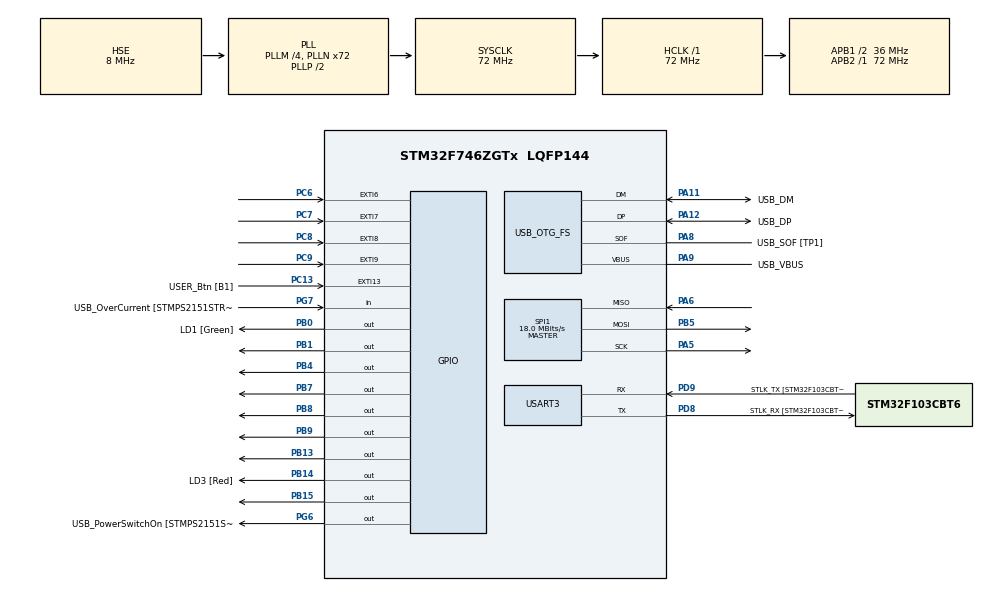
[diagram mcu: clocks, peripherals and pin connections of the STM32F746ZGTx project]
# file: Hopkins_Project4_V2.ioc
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Dma.Request0=SPI1_TX
Dma.SPI1_TX.0.Direction=DMA_MEMORY_TO_PERIPH
Dma.SPI1_TX.0.FIFOMode=DMA_FIFOMODE_ENABLE
Dma.SPI1_TX.0.FIFOThreshold=DMA_FIFO_THRESHOLD_HALFFULL
Dma.SPI1_TX.0.Instance=DMA2_Stream3
Dma.SPI1_TX.0.MemBurst=DMA_MBURST_SINGLE
Dma.SPI1_TX.0.MemDataAlignment=DMA_MDATAALIGN_HALFWORD
Dma.SPI1_TX.0.MemInc=DMA_MINC_ENABLE
Dma.SPI1_TX.0.Mode=DMA_NORMAL
Dma.SPI1_TX.0.PeriphBurst=DMA_PBURST_SINGLE
Dma.SPI1_TX.0.PeriphDataAlignment=DMA_PDATAALIGN_HALFWORD
Dma.SPI1_TX.0.PeriphInc=DMA_PINC_DISABLE
Dma.SPI1_TX.0.Priority=DMA_PRIORITY_LOW
Mcu.Family=STM32F7
Mcu.Name=STM32F746ZGTx
Mcu.Package=LQFP144
NVIC.DMA2_Stream3_IRQn=true\:0\:0\:false\:false\:true\:false\:true\:true
NVIC.EXTI9_5_IRQn=true\:0\:0\:false\:false\:true\:true\:true\:true
NVIC.PriorityGroup=NVIC_PRIORITYGROUP_4
PA1.GPIO_Label=RMII_REF_CLK [LAN8742A-CZ-TR_REFCLK0]
PA1.Signal=ETH_REF_CLK
PA10.GPIO_Label=USB_ID
PA10.Signal=USB_OTG_FS_ID
PA11.GPIO_Label=USB_DM
PA11.Mode=Device_Only
PA11.Signal=USB_OTG_FS_DM
PA12.GPIO_Label=USB_DP
PA12.Mode=Device_Only
PA12.Signal=USB_OTG_FS_DP
PA13.GPIO_Label=TMS
PA13.Mode=Serial_Wire
PA13.Signal=SYS_JTMS-SWDIO
PA14.GPIO_Label=TCK
PA14.Mode=Serial_Wire
PA14.Signal=SYS_JTCK-SWCLK
PA2.GPIO_Label=RMII_MDIO [LAN8742A-CZ-TR_MDIO]
PA2.Signal=ETH_MDIO
PA5.Mode=Full_Duplex_Master
PA5.Signal=SPI1_SCK
PA6.Mode=Full_Duplex_Master
PA6.Signal=SPI1_MISO
PA7.GPIO_Label=RMII_CRS_DV [LAN8742A-CZ-TR_CRS_DV]
PA7.Signal=ETH_CRS_DV
PA8.GPIO_Label=USB_SOF [TP1]
PA8.Mode=Activate_SOF_FS
PA8.Signal=USB_OTG_FS_SOF
PA9.GPIO_Label=USB_VBUS
PA9.Mode=Activate_VBUS
PA9.Signal=USB_OTG_FS_VBUS
PB0.GPIO_Label=LD1 [Green]
PB0.PinState=GPIO_PIN_RESET
PB0.Signal=GPIO_Output
PB1.GPIO_PuPd=GPIO_PULLDOWN
PB1.Signal=GPIO_Output
PB13.GPIO_PuPd=GPIO_PULLDOWN
PB13.PinState=GPIO_PIN_RESET
PB13.Signal=GPIO_Output
PB14.GPIO_Label=LD3 [Red]
PB14.Signal=GPIO_Output
PB15.GPIO_PuPd=GPIO_PULLDOWN
PB15.Signal=GPIO_Output
PB3.GPIO_Label=SW0
PB3.Signal=SYS_JTDO-SWO
PB4.GPIO_PuPd=GPIO_PULLDOWN
PB4.Signal=GPIO_Output
PB5.Mode=Full_Duplex_Master
PB5.Signal=SPI1_MOSI
PB7.Signal=GPIO_Output
PB8.Signal=GPIO_Output
PB9.Signal=GPIO_Output
PC1.GPIO_Label=RMII_MDC [LAN8742A-CZ-TR_MDC]
PC1.Signal=ETH_MDC
PC13.GPIO_Label=USER_Btn [B1]
PC13.Signal=GPXTI13
PC14/OSC32_IN.Mode=LSE-External-Oscillator
PC14/OSC32_IN.Signal=RCC_OSC32_IN
PC15/OSC32_OUT.Mode=LSE-External-Oscillator
PC15/OSC32_OUT.Signal=RCC_OSC32_OUT
PC4.GPIO_Label=RMII_RXD0 [LAN8742A-CZ-TR_RXD0]
PC4.Signal=ETH_RXD0
PC5.GPIO_Label=RMII_RXD1 [LAN8742A-CZ-TR_RXD1]
PC5.Signal=ETH_RXD1
PC6.GPIO_ModeDefaultEXTI=GPIO_MODE_IT_FALLING
PC6.GPIO_PuPd=GPIO_PULLUP
PC6.Signal=GPXTI6
PC7.GPIO_ModeDefaultEXTI=GPIO_MODE_IT_FALLING
PC7.GPIO_PuPd=GPIO_PULLUP
PC7.Signal=GPXTI7
PC8.GPIO_ModeDefaultEXTI=GPIO_MODE_IT_FALLING
PC8.GPIO_PuPd=GPIO_PULLUP
PC8.Signal=GPXTI8
PC9.GPIO_ModeDefaultEXTI=GPIO_MODE_IT_FALLING
PC9.GPIO_PuPd=GPIO_PULLUP
PC9.Signal=GPXTI9
PD8.GPIO_Label=STLK_RX [STM32F103CBT6_PA3]
PD8.GPIO_PuPd=GPIO_PULLUP
PD8.Mode=Asynchronous
PD8.Signal=USART3_TX
PD9.GPIO_Label=STLK_TX [STM32F103CBT6_PA2]
PD9.GPIO_PuPd=GPIO_PULLUP
PD9.Mode=Asynchronous
PD9.Signal=USART3_RX
PG11.GPIO_Label=RMII_TX_EN [LAN8742A-CZ-TR_TXEN]
PG11.Signal=ETH_TX_EN
PG13.GPIO_Label=RMII_TXD0 [LAN8742A-CZ-TR_TXD0]
PG13.Signal=ETH_TXD0
PG6.GPIO_Label=USB_PowerSwitchOn [STMPS2151STR_EN]
PG6.Signal=GPIO_Output
PG7.GPIO_Label=USB_OverCurrent [STMPS2151STR_FAULT]
PG7.Signal=GPIO_Input
PH0/OSC_IN.GPIO_Label=MCO [STM32F103CBT6_PA8]
PH0/OSC_IN.Mode=HSE-External-Clock-Source
PH0/OSC_IN.Signal=RCC_OSC_IN
PH1/OSC_OUT.Mode=HSE-External-Clock-Source
PH1/OSC_OUT.Signal=RCC_OSC_OUT
ProjectManager.HeapSize=0x200
ProjectManager.StackSize=0x400
ProjectManager.TargetToolchain=STM32CubeIDE
RCC.48MHZClocksFreq_Value=24000000
RCC.AHBFreq_Value=72000000
RCC.APB1CLKDivider=RCC_HCLK_DIV2
RCC.APB1Freq_Value=36000000
RCC.APB1TimFreq_Value=72000000
RCC.APB2Freq_Value=72000000
RCC.APB2TimFreq_Value=72000000
RCC.CortexFreq_Value=72000000
RCC.HCLKFreq_Value=72000000
RCC.HSE_VALUE=8000000
RCC.HSI_VALUE=16000000
RCC.PLLM=4
RCC.PLLMUL=RCC_PLL_MUL9
RCC.PLLN=72
RCC.PLLQ=3
RCC.PRESCALERUSB=RCC_USBCLKSOURCE_PLL_DIV1_5
RCC.SYSCLKFreq_VALUE=72000000
RCC.SYSCLKSource=RCC_SYSCLKSOURCE_PLLCLK
RCC.SYSCLKSourceVirtual=RCC_SYSCLKSOURCE_PLLCLK
RCC.USBFreq_Value=48000000
RCC.VCOOutputFreq_Value=144000000
SPI1.BaudRatePrescaler=SPI_BAUDRATEPRESCALER_4
SPI1.CalculateBaudRate=18.0 MBits/s
SPI1.DataSize=SPI_DATASIZE_8BIT
SPI1.Direction=SPI_DIRECTION_2LINES
SPI1.Mode=SPI_MODE_MASTER
SPI1.NSSPMode=SPI_NSS_PULSE_DISABLE
SPI1.VirtualType=VM_MASTER
USART3.VirtualMode-Asynchronous=VM_ASYNC
USB_OTG_FS.VirtualMode=Device_Only
board=NUCLEO-F746ZG

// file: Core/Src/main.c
/* USER CODE BEGIN Header */
/**
  ******************************************************************************
  * @file           : main.c
  * @brief          : Main program body
  ******************************************************************************
  * @attention
  *
  * Copyright (c) 2023 STMicroelectronics.
  * All rights reserved.
  *
  * This software is licensed under terms that can be found in the LICENSE file
  * in the root directory of this software component.
  * If no LICENSE file comes with this software, it is provided AS-IS.
  *
  ******************************************************************************
  */
/* USER CODE END Header */
#include "main.h"

/* USER CODE BEGIN Includes */
#include "ctype.h"
#include "stdio.h"
#include "ili9163.h"
#include "fonts.h"
#include "colors.h"
#include "stdlib.h"
#include "GUI.h"
#include "stm32f7xx_hal.h"
#include "stm32f7xx_hal_flash.h"
#include "HAL_FLASH.h"

/* USER CODE END Includes */

SPI_HandleTypeDef hspi1;
DMA_HandleTypeDef hdma_spi1_tx;

UART_HandleTypeDef huart3;

PCD_HandleTypeDef hpcd_USB_OTG_FS;

/* USER CODE BEGIN PV */
char keyChar = 0;
uint16_t key = 0;

char password[10];
char inputPassword[10];

int enterFlag = 0;
int setPassFlag = 0;
int backspaceFlag = 0;
int screenClrFlag = 0;
int stringSize = 0;

uint32_t passLen = 4;

/* USER CODE END PV */

void SystemClock_Config(void);
static void MX_GPIO_Init(void);
static void MX_DMA_Init(void);
static void MX_USART3_UART_Init(void);
static void MX_USB_OTG_FS_PCD_Init(void);
static void MX_SPI1_Init(void);

int main(void)
{

  /* MCU Configuration--------------------------------------------------------*/

  /* Reset of all peripherals, Initializes the Flash interface and the Systick. */
  HAL_Init();

  /* USER CODE BEGIN Init */
  HAL_FLASH_Unlock();

  /* USER CODE END Init */

  /* Configure the system clock */
  SystemClock_Config();

  /* Initialize all configured peripherals */
  MX_GPIO_Init();
  MX_DMA_Init();
  MX_USART3_UART_Init();
  MX_USB_OTG_FS_PCD_Init();
  MX_SPI1_Init();
  /* USER CODE BEGIN 2 */
  getTitleScreen();
  readDataFromFlash((uint32_t*)password, passLen);

  /* USER CODE END 2 */

  /* Infinite loop */
  /* USER CODE BEGIN WHILE */
  while (1)
  {
	//Basic key pad functionality
	if (keyChar != 0)
	{
		keyChar = 0;
		displayInput(); //GUI to display input
		stringSize = strlen(inputPassword);
	}
	if (backspaceFlag == 1)
	{
		backspaceFlag = 0;
		displayInput(); //GUI to display input
	}
	if (screenClrFlag == 1)
	{
		screenClrFlag = 0;
		displayInput(); //GUI to display input
	}
	if (setPassFlag == 1)
	{
		setPassFlag = 0;

		FLASH_Erase_Sector(FLASH_SECTOR_6, VOLTAGE_RANGE_3);

		passLen = strlen(password);
		password[passLen] = '\0';

	    writeDataToFlash((uint32_t*)password, passLen);

	    savedPassword(); //GUI to display the password has been set
	    enterPassword(); //GUI to ask user to enter password
		inputPassword[0] = '\0';
		displayInput(); //GUI to display input
	}
	if (enterFlag == 1)
	{
		inputPassword[stringSize] = '\0';
		if(strcmp(inputPassword, password) == 0)
		{
			correctPassword(); //GUI to display correct password screen
			HAL_GPIO_TogglePin (GPIOB, GPIO_PIN_0);
			HAL_Delay(1000);
			HAL_GPIO_TogglePin (GPIOB, GPIO_PIN_0);
		}
		else
		{
			incorrectPassword(); //GUI to display incorrect password screen
			HAL_GPIO_TogglePin (GPIOB, GPIO_PIN_14);
			HAL_Delay(1000);
			HAL_GPIO_TogglePin (GPIOB, GPIO_PIN_14);
		}
		inputPassword[0] = '\0';
		displayInput(); //GUI to display input
		enterFlag = 0;
	}
    /* USER CODE END WHILE */

  }
}

void SystemClock_Config(void)
{
  RCC_OscInitTypeDef RCC_OscInitStruct = {0};
  RCC_ClkInitTypeDef RCC_ClkInitStruct = {0};

  /** Configure LSE Drive Capability
  */
  HAL_PWR_EnableBkUpAccess();

  /** Configure the main internal regulator output voltage
  */
  __HAL_RCC_PWR_CLK_ENABLE();
  __HAL_PWR_VOLTAGESCALING_CONFIG(PWR_REGULATOR_VOLTAGE_SCALE3);

  /** Initializes the RCC Oscillators according to the specified parameters
  * in the RCC_OscInitTypeDef structure.
  */
  RCC_OscInitStruct.OscillatorType = RCC_OSCILLATORTYPE_HSE;
  RCC_OscInitStruct.HSEState = RCC_HSE_BYPASS;
  RCC_OscInitStruct.PLL.PLLState = RCC_PLL_ON;
  RCC_OscInitStruct.PLL.PLLSource = RCC_PLLSOURCE_HSE;
  RCC_OscInitStruct.PLL.PLLM = 4;
  RCC_OscInitStruct.PLL.PLLN = 72;
  RCC_OscInitStruct.PLL.PLLP = RCC_PLLP_DIV2;
  RCC_OscInitStruct.PLL.PLLQ = 3;
  if (HAL_RCC_OscConfig(&RCC_OscInitStruct) != HAL_OK)
  {
    Error_Handler();
  }

  /** Initializes the CPU, AHB and APB buses clocks
  */
  RCC_ClkInitStruct.ClockType = RCC_CLOCKTYPE_HCLK|RCC_CLOCKTYPE_SYSCLK
                              |RCC_CLOCKTYPE_PCLK1|RCC_CLOCKTYPE_PCLK2;
  RCC_ClkInitStruct.SYSCLKSource = RCC_SYSCLKSOURCE_PLLCLK;
  RCC_ClkInitStruct.AHBCLKDivider = RCC_SYSCLK_DIV1;
  RCC_ClkInitStruct.APB1CLKDivider = RCC_HCLK_DIV2;
  RCC_ClkInitStruct.APB2CLKDivider = RCC_HCLK_DIV1;

  if (HAL_RCC_ClockConfig(&RCC_ClkInitStruct, FLASH_LATENCY_2) != HAL_OK)
  {
    Error_Handler();
  }
}

static void MX_SPI1_Init(void)
{

  /* SPI1 parameter configuration*/
  hspi1.Instance = SPI1;
  hspi1.Init.Mode = SPI_MODE_MASTER;
  hspi1.Init.Direction = SPI_DIRECTION_2LINES;
  hspi1.Init.DataSize = SPI_DATASIZE_8BIT;
  hspi1.Init.CLKPolarity = SPI_POLARITY_LOW;
  hspi1.Init.CLKPhase = SPI_PHASE_1EDGE;
  hspi1.Init.NSS = SPI_NSS_SOFT;
  hspi1.Init.BaudRatePrescaler = SPI_BAUDRATEPRESCALER_4;
  hspi1.Init.FirstBit = SPI_FIRSTBIT_MSB;
  hspi1.Init.TIMode = SPI_TIMODE_DISABLE;
  hspi1.Init.CRCCalculation = SPI_CRCCALCULATION_DISABLE;
  hspi1.Init.CRCPolynomial = 7;
  hspi1.Init.CRCLength = SPI_CRC_LENGTH_DATASIZE;
  hspi1.Init.NSSPMode = SPI_NSS_PULSE_DISABLE;
  if (HAL_SPI_Init(&hspi1) != HAL_OK)
  {
    Error_Handler();
  }

}

static void MX_USART3_UART_Init(void)
{

  huart3.Instance = USART3;
  huart3.Init.BaudRate = 115200;
  huart3.Init.WordLength = UART_WORDLENGTH_8B;
  huart3.Init.StopBits = UART_STOPBITS_1;
  huart3.Init.Parity = UART_PARITY_NONE;
  huart3.Init.Mode = UART_MODE_TX_RX;
  huart3.Init.HwFlowCtl = UART_HWCONTROL_NONE;
  huart3.Init.OverSampling = UART_OVERSAMPLING_16;
  huart3.Init.OneBitSampling = UART_ONE_BIT_SAMPLE_DISABLE;
  huart3.AdvancedInit.AdvFeatureInit = UART_ADVFEATURE_NO_INIT;
  if (HAL_UART_Init(&huart3) != HAL_OK)
  {
    Error_Handler();
  }

}

static void MX_USB_OTG_FS_PCD_Init(void)
{

  hpcd_USB_OTG_FS.Instance = USB_OTG_FS;
  hpcd_USB_OTG_FS.Init.dev_endpoints = 6;
  hpcd_USB_OTG_FS.Init.speed = PCD_SPEED_FULL;
  hpcd_USB_OTG_FS.Init.dma_enable = DISABLE;
  hpcd_USB_OTG_FS.Init.phy_itface = PCD_PHY_EMBEDDED;
  hpcd_USB_OTG_FS.Init.Sof_enable = ENABLE;
  hpcd_USB_OTG_FS.Init.low_power_enable = DISABLE;
  hpcd_USB_OTG_FS.Init.lpm_enable = DISABLE;
  hpcd_USB_OTG_FS.Init.vbus_sensing_enable = ENABLE;
  hpcd_USB_OTG_FS.Init.use_dedicated_ep1 = DISABLE;
  if (HAL_PCD_Init(&hpcd_USB_OTG_FS) != HAL_OK)
  {
    Error_Handler();
  }

}

static void MX_DMA_Init(void)
{

  /* DMA controller clock enable */
  __HAL_RCC_DMA2_CLK_ENABLE();

  /* DMA interrupt init */
  /* DMA2_Stream3_IRQn interrupt configuration */
  HAL_NVIC_SetPriority(DMA2_Stream3_IRQn, 0, 0);
  HAL_NVIC_EnableIRQ(DMA2_Stream3_IRQn);

}

static void MX_GPIO_Init(void)
{
  GPIO_InitTypeDef GPIO_InitStruct = {0};

  /* GPIO Ports Clock Enable */
  __HAL_RCC_GPIOC_CLK_ENABLE();
  __HAL_RCC_GPIOH_CLK_ENABLE();
  __HAL_RCC_GPIOA_CLK_ENABLE();
  __HAL_RCC_GPIOB_CLK_ENABLE();
  __HAL_RCC_GPIOD_CLK_ENABLE();
  __HAL_RCC_GPIOG_CLK_ENABLE();

  /*Configure GPIO pin Output Level */
  HAL_GPIO_WritePin(GPIOB, LD1_Pin|GPIO_PIN_1|GPIO_PIN_13|LD3_Pin
                          |GPIO_PIN_15|GPIO_PIN_4|GPIO_PIN_7|GPIO_PIN_8
                          |GPIO_PIN_9, GPIO_PIN_RESET);

  /*Configure GPIO pin Output Level */
  HAL_GPIO_WritePin(USB_PowerSwitchOn_GPIO_Port, USB_PowerSwitchOn_Pin, GPIO_PIN_RESET);

  /*Configure GPIO pin : USER_Btn_Pin */
  GPIO_InitStruct.Pin = USER_Btn_Pin;
  GPIO_InitStruct.Mode = GPIO_MODE_IT_RISING;
  GPIO_InitStruct.Pull = GPIO_NOPULL;
  HAL_GPIO_Init(USER_Btn_GPIO_Port, &GPIO_InitStruct);

  /*Configure GPIO pins : RMII_MDC_Pin RMII_RXD0_Pin RMII_RXD1_Pin */
  GPIO_InitStruct.Pin = RMII_MDC_Pin|RMII_RXD0_Pin|RMII_RXD1_Pin;
  GPIO_InitStruct.Mode = GPIO_MODE_AF_PP;
  GPIO_InitStruct.Pull = GPIO_NOPULL;
  GPIO_InitStruct.Speed = GPIO_SPEED_FREQ_VERY_HIGH;
  GPIO_InitStruct.Alternate = GPIO_AF11_ETH;
  HAL_GPIO_Init(GPIOC, &GPIO_InitStruct);

  /*Configure GPIO pins : RMII_REF_CLK_Pin RMII_MDIO_Pin RMII_CRS_DV_Pin */
  GPIO_InitStruct.Pin = RMII_REF_CLK_Pin|RMII_MDIO_Pin|RMII_CRS_DV_Pin;
  GPIO_InitStruct.Mode = GPIO_MODE_AF_PP;
  GPIO_InitStruct.Pull = GPIO_NOPULL;
  GPIO_InitStruct.Speed = GPIO_SPEED_FREQ_VERY_HIGH;
  GPIO_InitStruct.Alternate = GPIO_AF11_ETH;
  HAL_GPIO_Init(GPIOA, &GPIO_InitStruct);

  /*Configure GPIO pins : LD1_Pin LD3_Pin PB7 PB8
                           PB9 */
  GPIO_InitStruct.Pin = LD1_Pin|LD3_Pin|GPIO_PIN_7|GPIO_PIN_8
                          |GPIO_PIN_9;
  GPIO_InitStruct.Mode = GPIO_MODE_OUTPUT_PP;
  GPIO_InitStruct.Pull = GPIO_NOPULL;
  GPIO_InitStruct.Speed = GPIO_SPEED_FREQ_LOW;
  HAL_GPIO_Init(GPIOB, &GPIO_InitStruct);

  /*Configure GPIO pins : PB1 PB13 PB15 PB4 */
  GPIO_InitStruct.Pin = GPIO_PIN_1|GPIO_PIN_13|GPIO_PIN_15|GPIO_PIN_4;
  GPIO_InitStruct.Mode = GPIO_MODE_OUTPUT_PP;
  GPIO_InitStruct.Pull = GPIO_PULLDOWN;
  GPIO_InitStruct.Speed = GPIO_SPEED_FREQ_LOW;
  HAL_GPIO_Init(GPIOB, &GPIO_InitStruct);

  /*Configure GPIO pin : USB_PowerSwitchOn_Pin */
  GPIO_InitStruct.Pin = USB_PowerSwitchOn_Pin;
  GPIO_InitStruct.Mode = GPIO_MODE_OUTPUT_PP;
  GPIO_InitStruct.Pull = GPIO_NOPULL;
  GPIO_InitStruct.Speed = GPIO_SPEED_FREQ_LOW;
  HAL_GPIO_Init(USB_PowerSwitchOn_GPIO_Port, &GPIO_InitStruct);

  /*Configure GPIO pin : USB_OverCurrent_Pin */
  GPIO_InitStruct.Pin = USB_OverCurrent_Pin;
  GPIO_InitStruct.Mode = GPIO_MODE_INPUT;
  GPIO_InitStruct.Pull = GPIO_NOPULL;
  HAL_GPIO_Init(USB_OverCurrent_GPIO_Port, &GPIO_InitStruct);

  /*Configure GPIO pins : PC6 PC7 PC8 PC9 */
  GPIO_InitStruct.Pin = GPIO_PIN_6|GPIO_PIN_7|GPIO_PIN_8|GPIO_PIN_9;
  GPIO_InitStruct.Mode = GPIO_MODE_IT_FALLING;
  GPIO_InitStruct.Pull = GPIO_PULLUP;
  HAL_GPIO_Init(GPIOC, &GPIO_InitStruct);

  /*Configure GPIO pins : RMII_TX_EN_Pin RMII_TXD0_Pin */
  GPIO_InitStruct.Pin = RMII_TX_EN_Pin|RMII_TXD0_Pin;
  GPIO_InitStruct.Mode = GPIO_MODE_AF_PP;
  GPIO_InitStruct.Pull = GPIO_NOPULL;
  GPIO_InitStruct.Speed = GPIO_SPEED_FREQ_VERY_HIGH;
  GPIO_InitStruct.Alternate = GPIO_AF11_ETH;
  HAL_GPIO_Init(GPIOG, &GPIO_InitStruct);

  /* EXTI interrupt init*/
  HAL_NVIC_SetPriority(EXTI9_5_IRQn, 0, 0);
  HAL_NVIC_EnableIRQ(EXTI9_5_IRQn);

}

/* USER CODE BEGIN 4 */
uint8_t SPI_DMA_FL = 0;
uint32_t SPI_DMA_CNT=1;
void HAL_SPI_TxCpltCallback(SPI_HandleTypeDef *hspi){SPI_DMA_CNT--;     if(SPI_DMA_CNT==0)     {         HAL_SPI_DMAStop(&hspi1);         SPI_DMA_CNT=1;         SPI_DMA_FL=1;     } }

/* USER CODE END 4 */

void Error_Handler(void)
{
  __disable_irq();
  while (1)
  {
  }
}
